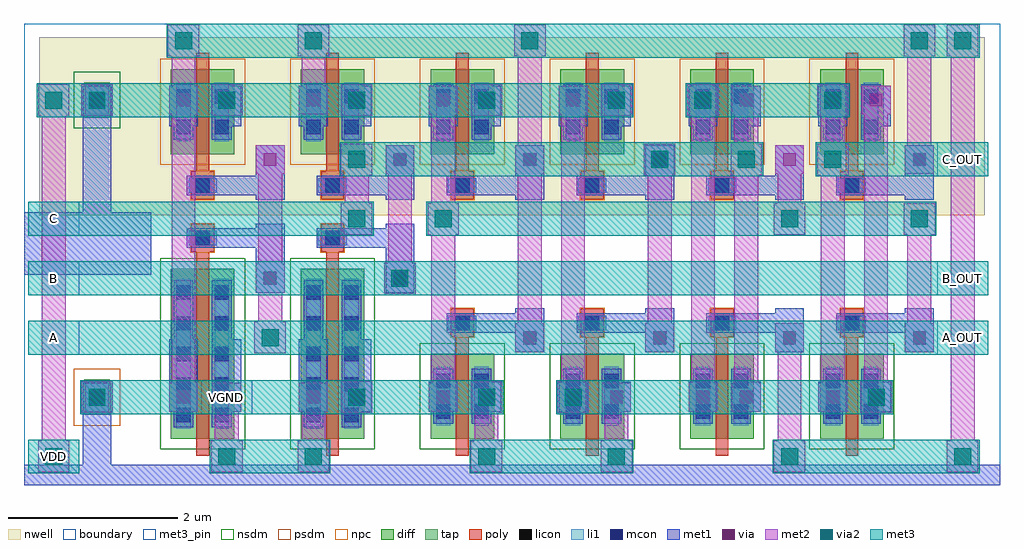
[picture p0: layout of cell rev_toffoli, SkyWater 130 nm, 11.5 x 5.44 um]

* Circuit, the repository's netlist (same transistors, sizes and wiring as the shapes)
* NGSPICE file created from rev_toffoli.ext - technology: sky130A

.subckt rev_toffoli VDD VGND A B C A_OUT B_OUT C_OUT
X0 VDD B a_346_110# VDD sky130_fd_pr__pfet_01v8 ad=0.3 pd=2.6 as=0.3 ps=2.6 w=1 l=0.15
X1 a_436_110# A a_346_110# VGND sky130_fd_pr__nfet_01v8 ad=0.6 pd=4.6 as=0.6 ps=4.6 w=2 l=0.15
V0 B B_OUT 0
V1 A A_OUT 0
X2 VGND B a_436_110# VGND sky130_fd_pr__nfet_01v8 ad=0.6 pd=4.6 as=0.6 ps=4.6 w=2 l=0.15
X3 VDD a_346_110# a_958_110# VDD sky130_fd_pr__pfet_01v8 ad=0.3 pd=2.6 as=0.3 ps=2.6 w=1 l=0.15
X4 VDD C a_1264_110# VDD sky130_fd_pr__pfet_01v8 ad=0.3 pd=2.6 as=0.3 ps=2.6 w=1 l=0.15
X5 VGND a_346_110# a_958_110# VGND sky130_fd_pr__nfet_01v8 ad=0.3 pd=2.6 as=0.3 ps=2.6 w=1 l=0.15
X6 C a_958_110# C_OUT VDD sky130_fd_pr__pfet_01v8 ad=0.3 pd=2.6 as=0.3 ps=2.6 w=1 l=0.15
X7 VGND C a_1264_110# VGND sky130_fd_pr__nfet_01v8 ad=0.3 pd=2.6 as=0.3 ps=2.6 w=1 l=0.15
X8 a_1264_110# a_346_110# C_OUT VDD sky130_fd_pr__pfet_01v8 ad=0.3 pd=2.6 as=0.3 ps=2.6 w=1 l=0.15
X9 C a_346_110# C_OUT VGND sky130_fd_pr__nfet_01v8 ad=0.3 pd=2.6 as=0.3 ps=2.6 w=1 l=0.15
X10 VDD A a_346_110# VDD sky130_fd_pr__pfet_01v8 ad=0.3 pd=2.6 as=0.3 ps=2.6 w=1 l=0.15
X11 a_1264_110# a_958_110# C_OUT VGND sky130_fd_pr__nfet_01v8 ad=0.3 pd=2.6 as=0.3 ps=2.6 w=1 l=0.15
.ends

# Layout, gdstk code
import gdstk
lib = gdstk.Library(unit=1e-6, precision=1e-09)
def R(c, l, rs):  # rectangles x0, y0, x1, y1
    for r in rs: c.add(gdstk.rectangle(r[:2], r[2:], *l))
def A(c, l, x, y, w, h, nx, ny, dx, dy):  # array of equal rectangles
    R(c, l, [(x+i*dx, y+j*dy, x+i*dx+w, y+j*dy+h) for i in range(nx) for j in range(ny)])
nwell = (64, 20)
diff = (65, 20)
tap = (65, 44)
poly = (66, 20)
licon = (66, 44)
li1 = (67, 20)
mcon = (67, 44)
met1 = (68, 20)
via = (68, 44)
met2 = (69, 20)
via2 = (69, 44)
met3_pin = (70, 16)
met3 = (70, 20)
nsdm = (93, 44)
psdm = (94, 20)
npc = (95, 20)
boundary = (235, 4)

rev_toffoli = lib.new_cell('rev_toffoli')
A(rev_toffoli, nwell, 1.425, 3.18, 1.36, 2.1, 6, 1, 1.53, 0)
R(rev_toffoli, nwell, [(0.18,3.18,11.32,5.28)])
A(rev_toffoli, diff, 4.79, 0.55, 0.75, 1, 4, 1, 1.53, 0)
A(rev_toffoli, diff, 1.73, 3.9, 0.75, 1, 6, 1, 1.53, 0)
R(rev_toffoli, diff, [(1.73,0.55,2.48,2.55), (3.26,0.55,4.01,2.55)])
R(rev_toffoli, tap, [(0.71,0.83,1.01,1.25), (0.71,4.33,1.01,4.75)])
A(rev_toffoli, poly, 5.09, 0.35, 0.15, 1.4, 4, 1, 1.53, 0)
A(rev_toffoli, poly, 5.03, 1.75, 0.27, 0.33, 4, 1, 1.53, 0)
A(rev_toffoli, poly, 1.97, 3.37, 0.27, 0.33, 6, 1, 1.53, 0)
A(rev_toffoli, poly, 2.03, 3.7, 0.15, 1.4, 6, 1, 1.53, 0)
R(rev_toffoli, poly, [(2.03,0.35,2.18,2.75), (3.56,0.35,3.71,2.75), (1.97,2.75,2.24,3.08), (3.5,2.75,3.77,3.08)])
A(rev_toffoli, licon, 1.795, 0.745, 0.17, 0.17, 1, 5, 0, 0.36)
A(rev_toffoli, licon, 2.245, 0.745, 0.17, 0.17, 1, 5, 0, 0.36)
A(rev_toffoli, licon, 3.325, 0.745, 0.17, 0.17, 1, 5, 0, 0.36)
A(rev_toffoli, licon, 3.775, 0.745, 0.17, 0.17, 1, 5, 0, 0.36)
A(rev_toffoli, licon, 5.08, 1.83, 0.17, 0.17, 4, 1, 1.53, 0)
A(rev_toffoli, licon, 2.02, 3.45, 0.17, 0.17, 6, 1, 1.53, 0)
R(rev_toffoli, licon, [(4.855,0.785,5.025,0.955), (5.305,0.785,5.475,0.955), (6.385,0.785,6.555,0.955), (6.835,0.785,7.005,0.955), (7.915,0.785,8.085,0.955), (8.365,0.785,8.535,0.955), (9.445,0.785,9.615,0.955), (9.895,0.785,10.065,0.955), (0.775,0.955,0.945,1.125), (4.855,1.145,5.025,1.315), (5.305,1.145,5.475,1.315), (6.385,1.145,6.555,1.315), (6.835,1.145,7.005,1.315), (7.915,1.145,8.085,1.315), (8.365,1.145,8.535,1.315), (9.445,1.145,9.615,1.315), (9.895,1.145,10.065,1.315), (2.02,2.83,2.19,3), (3.55,2.83,3.72,3), (1.795,4.135,1.965,4.305), (2.245,4.135,2.415,4.305), (3.325,4.135,3.495,4.305), (3.775,4.135,3.945,4.305), (4.855,4.135,5.025,4.305), (5.305,4.135,5.475,4.305), (6.385,4.135,6.555,4.305), (6.835,4.135,7.005,4.305), (7.915,4.135,8.085,4.305), (8.365,4.135,8.535,4.305), (9.445,4.135,9.615,4.305), (9.895,4.135,10.065,4.305), (0.775,4.455,0.945,4.625), (1.795,4.495,1.965,4.665), (2.245,4.495,2.415,4.665), (3.325,4.495,3.495,4.665), (3.775,4.495,3.945,4.665), (4.855,4.495,5.025,4.665), (5.305,4.495,5.475,4.665), (6.385,4.495,6.555,4.665), (6.835,4.495,7.005,4.665), (7.915,4.495,8.085,4.665), (8.365,4.495,8.535,4.665), (9.445,4.495,9.615,4.665), (9.895,4.495,10.065,4.665)])
A(rev_toffoli, li1, 5, 1.83, 0.33, 0.17, 4, 1, 1.53, 0)
A(rev_toffoli, li1, 1.94, 3.45, 0.33, 0.17, 6, 1, 1.53, 0)
R(rev_toffoli, li1, [(1.795,0.665,1.965,2.435), (2.245,0.665,2.415,2.435), (3.325,0.665,3.495,2.435), (3.775,0.665,3.945,2.435), (4.855,0.705,5.025,1.395), (5.305,0.705,5.475,1.395), (6.385,0.705,6.555,1.395), (6.835,0.705,7.005,1.395), (7.915,0.705,8.085,1.395), (8.365,0.705,8.535,1.395), (9.445,0.705,9.615,1.395), (9.895,0.705,10.065,1.395), (0.72,0.87,1,1.21), (1.94,2.83,2.27,3), (3.47,2.83,3.8,3), (1.795,4.055,1.965,4.745), (2.245,4.055,2.415,4.745), (3.325,4.055,3.495,4.745), (3.775,4.055,3.945,4.745), (4.855,4.055,5.025,4.745), (5.305,4.055,5.475,4.745), (6.385,4.055,6.555,4.745), (6.835,4.055,7.005,4.745), (7.915,4.055,8.085,4.745), (8.365,4.055,8.535,4.745), (9.445,4.055,9.615,4.745), (9.895,4.055,10.065,4.745), (0.72,4.37,1,4.71)])
A(rev_toffoli, mcon, 1.795, 0.745, 0.17, 0.17, 1, 5, 0, 0.36)
A(rev_toffoli, mcon, 2.245, 0.745, 0.17, 0.17, 1, 5, 0, 0.36)
A(rev_toffoli, mcon, 3.325, 0.745, 0.17, 0.17, 1, 5, 0, 0.36)
A(rev_toffoli, mcon, 3.775, 0.745, 0.17, 0.17, 1, 5, 0, 0.36)
A(rev_toffoli, mcon, 5.08, 1.83, 0.17, 0.17, 4, 1, 1.53, 0)
A(rev_toffoli, mcon, 2.02, 3.45, 0.17, 0.17, 6, 1, 1.53, 0)
R(rev_toffoli, mcon, [(4.855,0.785,5.025,0.955), (5.305,0.785,5.475,0.955), (6.385,0.785,6.555,0.955), (6.835,0.785,7.005,0.955), (7.915,0.785,8.085,0.955), (8.365,0.785,8.535,0.955), (9.445,0.785,9.615,0.955), (9.895,0.785,10.065,0.955), (0.775,0.955,0.945,1.125), (4.855,1.145,5.025,1.315), (5.305,1.145,5.475,1.315), (6.385,1.145,6.555,1.315), (6.835,1.145,7.005,1.315), (7.915,1.145,8.085,1.315), (8.365,1.145,8.535,1.315), (9.445,1.145,9.615,1.315), (9.895,1.145,10.065,1.315), (2.02,2.83,2.19,3), (3.55,2.83,3.72,3), (1.795,4.135,1.965,4.305), (2.245,4.135,2.415,4.305), (3.325,4.135,3.495,4.305), (3.775,4.135,3.945,4.305), (4.855,4.135,5.025,4.305), (5.305,4.135,5.475,4.305), (6.385,4.135,6.555,4.305), (6.835,4.135,7.005,4.305), (7.915,4.135,8.085,4.305), (8.365,4.135,8.535,4.305), (9.445,4.135,9.615,4.305), (9.895,4.135,10.065,4.305), (0.775,4.455,0.945,4.625), (1.795,4.495,1.965,4.665), (2.245,4.495,2.415,4.665), (3.325,4.495,3.495,4.665), (3.775,4.495,3.945,4.665), (4.855,4.495,5.025,4.665), (5.305,4.495,5.475,4.665), (6.385,4.495,6.555,4.665), (6.835,4.495,7.005,4.665), (7.915,4.495,8.085,4.665), (8.365,4.495,8.535,4.665), (9.445,4.495,9.615,4.665), (9.895,4.495,10.065,4.665)])
A(rev_toffoli, met1, 4.825, 0.935, 0.23, 0.23, 4, 1, 1.53, 0)
A(rev_toffoli, met1, 5.275, 0.935, 0.29, 0.23, 4, 1, 1.53, 0)
A(rev_toffoli, met1, 5.79, 1.57, 0.34, 0.34, 4, 1, 1.53, 0)
A(rev_toffoli, met1, 5.79, 1.57, 0.34, 0.515, 4, 1, 1.53, 0)
A(rev_toffoli, met1, 4.98, 1.8, 0.37, 0.23, 4, 1, 1.53, 0)
A(rev_toffoli, met1, 5.05, 1.8, 1.025, 0.23, 4, 1, 1.53, 0)
A(rev_toffoli, met1, 2.73, 3.365, 0.34, 0.645, 6, 1, 1.53, 0)
A(rev_toffoli, met1, 1.92, 3.42, 0.37, 0.23, 6, 1, 1.53, 0)
A(rev_toffoli, met1, 1.99, 3.42, 1.025, 0.23, 6, 1, 1.53, 0)
A(rev_toffoli, met1, 2.73, 3.67, 0.34, 0.34, 6, 1, 1.53, 0)
A(rev_toffoli, met1, 1.765, 4.285, 0.23, 0.23, 6, 1, 1.53, 0)
A(rev_toffoli, met1, 2.215, 4.285, 0.29, 0.23, 6, 1, 1.53, 0)
R(rev_toffoli, met1, [(0,0,11.5,0.24), (0.69,0,1.03,1.21), (1.765,0.685,1.995,2.415), (2.215,0.685,2.445,2.415), (3.295,0.685,3.525,2.415), (3.745,0.685,3.975,2.415), (4.825,0.725,5.055,1.375), (5.275,0.725,5.505,1.375), (6.355,0.725,6.585,1.375), (6.805,0.725,7.035,1.375), (7.885,0.725,8.115,1.375), (8.335,0.725,8.565,1.375), (9.415,0.725,9.645,1.375), (9.865,0.725,10.095,1.375), (0.69,0.87,1.03,1.21), (1.71,0.87,2.05,1.21), (1.71,0.87,2.05,1.72), (2.22,0.87,2.56,1.21), (2.22,0.87,2.56,1.72), (3.24,0.87,3.58,1.21), (3.24,0.87,3.58,1.72), (3.75,0.87,4.09,1.21), (3.75,0.87,4.09,1.72), (4.77,0.87,5.11,1.21), (4.77,0.87,5.11,1.22), (5.28,0.87,5.62,1.21), (5.28,0.87,5.62,1.22), (6.3,0.87,6.64,1.21), (6.3,0.87,6.64,1.22), (6.81,0.87,7.15,1.21), (6.81,0.87,7.15,1.22), (7.83,0.87,8.17,1.21), (7.83,0.87,8.17,1.22), (8.34,0.87,8.68,1.21), (8.34,0.87,8.68,1.22), (9.36,0.87,9.7,1.21), (9.36,0.87,9.7,1.22), (9.87,0.87,10.21,1.21), (9.87,0.87,10.21,1.22), (1.765,1.435,1.995,1.665), (2.215,1.435,2.505,1.665), (3.295,1.435,3.525,1.665), (3.745,1.435,4.035,1.665), (2.73,2.27,3.07,3.085), (2.73,2.27,3.07,2.61), (4.26,2.27,4.6,3.085), (4.26,2.27,4.6,2.61), (0,2.48,1.5,3.22), (1.92,2.8,2.29,3.03), (1.99,2.8,3.015,3.03), (3.45,2.8,3.82,3.03), (3.52,2.8,4.545,3.03), (0.69,3.22,1.03,4.71), (1.765,4.075,1.995,4.725), (2.215,4.075,2.445,4.725), (3.295,4.075,3.525,4.725), (3.745,4.075,3.975,4.725), (4.825,4.075,5.055,4.725), (5.275,4.075,5.505,4.725), (6.355,4.075,6.585,4.725), (6.805,4.075,7.035,4.725), (7.885,4.075,8.115,4.725), (8.335,4.075,8.565,4.725), (9.415,4.075,9.645,4.725), (9.865,4.075,10.095,4.725), (1.71,4.23,2.05,4.71), (2.22,4.23,2.56,4.71), (3.24,4.23,3.58,4.71), (3.75,4.23,4.09,4.71), (4.77,4.23,5.11,4.71), (5.28,4.23,5.62,4.71), (6.3,4.23,6.64,4.71), (6.81,4.23,7.15,4.71), (7.83,4.23,8.17,4.71), (8.34,4.23,8.68,4.71), (9.36,4.23,9.7,4.71), (9.87,4.23,10.21,4.71), (0.69,4.37,1.03,4.71), (1.71,4.37,2.05,4.71), (2.22,4.37,2.56,4.71), (3.24,4.37,3.58,4.71), (3.75,4.37,4.09,4.71), (4.77,4.37,5.11,4.71), (5.28,4.37,5.62,4.71), (6.3,4.37,6.64,4.71), (6.81,4.37,7.15,4.71), (7.83,4.37,8.17,4.71), (8.34,4.37,8.68,4.71), (9.36,4.37,9.7,4.71), (9.87,4.37,10.21,4.71)])
A(rev_toffoli, via, 5.885, 1.665, 0.15, 0.15, 4, 1, 1.53, 0)
A(rev_toffoli, via, 2.825, 3.765, 0.15, 0.15, 6, 1, 1.53, 0)
R(rev_toffoli, via, [(0.785,0.965,0.935,1.115), (1.805,0.965,1.955,1.115), (2.315,0.965,2.465,1.115), (3.335,0.965,3.485,1.115), (3.845,0.965,3.995,1.115), (4.865,0.965,5.015,1.115), (5.375,0.965,5.525,1.115), (6.395,0.965,6.545,1.115), (6.905,0.965,7.055,1.115), (7.925,0.965,8.075,1.115), (8.435,0.965,8.585,1.115), (9.455,0.965,9.605,1.115), (9.965,0.965,10.115,1.115), (2.825,2.365,2.975,2.515), (4.355,2.365,4.505,2.515), (0.785,4.465,0.935,4.615), (1.805,4.465,1.955,4.615), (2.315,4.465,2.465,4.615), (3.335,4.465,3.485,4.615), (3.845,4.465,3.995,4.615), (4.865,4.465,5.015,4.615), (5.375,4.465,5.525,4.615), (6.395,4.465,6.545,4.615), (6.905,4.465,7.055,4.615), (7.925,4.465,8.075,4.615), (8.435,4.465,8.585,4.615), (9.455,4.465,9.605,4.615), (9.965,4.465,10.115,4.615)])
A(rev_toffoli, met2, 6.795, 0.155, 0.37, 0.37, 3, 1, 2.04, 0)
A(rev_toffoli, met2, 0.21, 0.2, 0.28, 0.98, 1, 6, 0, 0.7)
A(rev_toffoli, met2, 6.84, 0.2, 0.28, 0.98, 3, 1, 2.04, 0)
A(rev_toffoli, met2, 1.74, 0.9, 0.28, 0.98, 1, 3, 0, 0.7)
A(rev_toffoli, met2, 4.8, 0.9, 0.28, 0.98, 3, 1, 1.53, 0)
A(rev_toffoli, met2, 8.37, 0.9, 0.28, 0.98, 4, 1, 0.51, 0)
A(rev_toffoli, met2, 5.79, 1.57, 0.34, 0.34, 4, 1, 1.53, 0)
A(rev_toffoli, met2, 4.8, 1.6, 0.28, 0.98, 1, 4, 0, 0.7)
A(rev_toffoli, met2, 5.82, 1.6, 0.28, 0.98, 1, 5, 0, 0.7)
A(rev_toffoli, met2, 6.33, 1.6, 0.28, 0.98, 1, 4, 0, 0.7)
A(rev_toffoli, met2, 7.35, 1.6, 0.28, 0.98, 3, 2, 0.51, 0.7)
A(rev_toffoli, met2, 9.39, 1.6, 0.28, 0.98, 4, 2, 0.51, 0.7)
A(rev_toffoli, met2, 1.74, 3, 0.28, 0.98, 3, 1, 1.02, 0)
A(rev_toffoli, met2, 7.35, 3, 0.28, 0.98, 6, 1, 0.51, 0)
A(rev_toffoli, met2, 7.305, 3.655, 0.37, 0.37, 3, 1, 1.02, 0)
A(rev_toffoli, met2, 2.73, 3.67, 0.34, 0.34, 6, 1, 1.53, 0)
A(rev_toffoli, met2, 9.39, 3.7, 0.28, 0.98, 4, 1, 0.51, 0)
A(rev_toffoli, met2, 0.675, 4.355, 0.37, 0.37, 5, 1, 1.53, 0)
R(rev_toffoli, met2, [(0.165,0.155,0.535,0.525), (2.205,0.155,2.575,0.525), (3.225,0.155,3.595,0.525), (5.265,0.155,5.635,0.525), (2.25,0.2,2.53,1.18), (3.27,0.2,3.55,1.18), (5.31,0.2,5.59,1.18), (0.675,0.855,1.045,1.225), (3.735,0.855,4.105,1.225), (5.265,0.855,5.635,1.225), (6.285,0.855,6.655,1.225), (9.855,0.855,10.225,1.225), (0.69,0.87,1.03,1.21), (1.71,0.87,2.05,1.21), (2.22,0.87,2.56,1.21), (3.24,0.87,3.58,1.21), (3.75,0.87,4.09,1.21), (4.77,0.87,5.11,1.21), (5.28,0.87,5.62,1.21), (6.3,0.87,6.64,1.21), (6.81,0.87,7.15,1.21), (7.83,0.87,8.17,1.21), (8.34,0.87,8.68,1.21), (9.36,0.87,9.7,1.21), (9.87,0.87,10.21,1.21), (10.92,0.9,11.2,1.88), (2.715,1.555,3.085,1.925), (2.76,1.6,3.04,2.58), (4.245,2.255,4.615,2.625), (2.73,2.27,3.07,2.61), (4.26,2.27,4.6,2.61), (2.76,2.3,3.04,3.28), (4.29,2.3,4.57,3.28), (3.735,2.955,4.105,3.325), (4.755,2.955,5.125,3.325), (8.835,2.955,9.205,3.325), (10.365,2.955,10.735,3.325), (4.29,3,4.57,3.98), (10.92,3,11.2,3.98), (3.735,3.655,4.105,4.025), (1.74,3.7,2.02,4.68), (7.86,3.7,8.14,4.68), (8.37,3.7,8.65,4.68), (0.165,4.355,0.535,4.725), (7.815,4.355,8.185,4.725), (9.345,4.355,9.715,4.725), (0.69,4.37,1.03,4.71), (1.71,4.37,2.05,4.71), (2.22,4.37,2.56,4.71), (3.24,4.37,3.58,4.71), (3.75,4.37,4.09,4.71), (4.77,4.37,5.11,4.71), (5.28,4.37,5.62,4.71), (6.3,4.37,6.64,4.71), (6.81,4.37,7.15,4.71), (7.83,4.37,8.17,4.71), (8.34,4.37,8.68,4.71), (9.36,4.37,9.7,4.71), (9.87,4.37,10.21,4.71), (1.74,4.4,2.02,5.38), (3.27,4.4,3.55,5.38), (10.41,4.4,10.69,5.38), (10.92,4.4,11.2,5.38), (1.695,5.055,2.065,5.425), (3.225,5.055,3.595,5.425), (5.775,5.055,6.145,5.425), (10.365,5.055,10.735,5.425), (10.875,5.055,11.245,5.425)])
A(rev_toffoli, via2, 6.88, 0.24, 0.2, 0.2, 3, 1, 2.04, 0)
A(rev_toffoli, via2, 7.39, 3.74, 0.2, 0.2, 3, 1, 1.02, 0)
A(rev_toffoli, via2, 0.76, 4.44, 0.2, 0.2, 5, 1, 1.53, 0)
R(rev_toffoli, via2, [(0.25,0.24,0.45,0.44), (2.29,0.24,2.49,0.44), (3.31,0.24,3.51,0.44), (5.35,0.24,5.55,0.44), (0.76,0.94,0.96,1.14), (3.82,0.94,4.02,1.14), (5.35,0.94,5.55,1.14), (6.37,0.94,6.57,1.14), (9.94,0.94,10.14,1.14), (2.8,1.64,3,1.84), (4.33,2.34,4.53,2.54), (3.82,3.04,4.02,3.24), (4.84,3.04,5.04,3.24), (8.92,3.04,9.12,3.24), (10.45,3.04,10.65,3.24), (3.82,3.74,4.02,3.94), (0.25,4.44,0.45,4.64), (7.9,4.44,8.1,4.64), (9.43,4.44,9.63,4.64), (1.78,5.14,1.98,5.34), (3.31,5.14,3.51,5.34), (5.86,5.14,6.06,5.34), (10.45,5.14,10.65,5.34), (10.96,5.14,11.16,5.34)])
A(rev_toffoli, met3_pin, 0.05, 1.54, 0.6, 0.4, 1, 3, 0, 0.7)
R(rev_toffoli, met3_pin, [(0.05,0.14,0.65,0.54), (2.09,0.84,2.69,1.24), (10.76,1.54,11.36,1.94), (10.76,2.24,11.36,2.64), (10.76,3.64,11.36,4.04)])
A(rev_toffoli, met3, 5.25, 0.14, 0.91, 0.4, 3, 1, 0.51, 0)
A(rev_toffoli, met3, 6.78, 0.14, 0.4, 0.4, 3, 1, 2.04, 0)
A(rev_toffoli, met3, 8.82, 0.14, 0.91, 0.4, 4, 1, 0.51, 0)
A(rev_toffoli, met3, 0.66, 0.84, 0.91, 0.4, 9, 1, 0.51, 0)
A(rev_toffoli, met3, 6.27, 0.84, 0.91, 0.4, 7, 1, 0.51, 0)
A(rev_toffoli, met3, 0.05, 1.54, 0.6, 0.4, 1, 3, 0, 0.7)
A(rev_toffoli, met3, 0.15, 1.54, 0.91, 0.4, 21, 2, 0.51, 0.7)
A(rev_toffoli, met3, 0.15, 2.94, 0.91, 0.4, 7, 1, 0.51, 0)
A(rev_toffoli, met3, 4.74, 2.94, 0.91, 0.4, 11, 1, 0.51, 0)
A(rev_toffoli, met3, 3.72, 3.64, 0.91, 0.4, 9, 1, 0.51, 0)
A(rev_toffoli, met3, 7.29, 3.64, 0.4, 0.4, 3, 1, 1.02, 0)
A(rev_toffoli, met3, 9.33, 3.64, 0.91, 0.4, 3, 1, 0.51, 0)
A(rev_toffoli, met3, 0.15, 4.34, 0.91, 0.4, 13, 1, 0.51, 0)
A(rev_toffoli, met3, 0.66, 4.34, 0.4, 0.4, 5, 1, 1.53, 0)
A(rev_toffoli, met3, 7.8, 4.34, 0.91, 0.4, 3, 1, 0.51, 0)
A(rev_toffoli, met3, 1.68, 5.04, 0.91, 0.4, 18, 1, 0.51, 0)
R(rev_toffoli, met3, [(0.05,0.14,0.65,0.54), (0.15,0.14,0.55,0.54), (2.19,0.14,3.1,0.54), (2.19,0.14,2.59,0.54), (2.7,0.14,3.61,0.54), (3.21,0.14,3.61,0.54), (5.25,0.14,5.65,0.54), (0.66,0.84,1.06,1.24), (2.09,0.84,2.69,1.24), (3.72,0.84,4.12,1.24), (5.25,0.84,5.65,1.24), (6.27,0.84,6.67,1.24), (9.84,0.84,10.24,1.24), (2.7,1.54,3.1,1.94), (10.76,1.54,11.36,1.94), (4.23,2.24,4.63,2.64), (10.76,2.24,11.36,2.64), (3.72,2.94,4.12,3.34), (4.74,2.94,5.14,3.34), (8.82,2.94,9.22,3.34), (10.35,2.94,10.75,3.34), (3.72,3.64,4.12,4.04), (10.76,3.64,11.36,4.04), (0.15,4.34,0.55,4.74), (7.8,4.34,8.2,4.74), (9.33,4.34,9.73,4.74), (1.68,5.04,2.08,5.44), (3.21,5.04,3.61,5.44), (5.76,5.04,6.16,5.44), (10.35,5.04,10.75,5.44), (10.86,5.04,11.26,5.44)])
A(rev_toffoli, nsdm, 4.665, 0.425, 1, 1.25, 4, 1, 1.53, 0)
R(rev_toffoli, nsdm, [(1.605,0.425,2.605,2.675), (3.135,0.425,4.135,2.675), (0.585,4.205,1.135,4.875)])
A(rev_toffoli, psdm, 1.605, 3.775, 1, 1.25, 6, 1, 1.53, 0)
R(rev_toffoli, psdm, [(0.585,0.705,1.135,1.375)])
A(rev_toffoli, npc, 5.02, 1.74, 0.29, 0.35, 4, 1, 1.53, 0)
A(rev_toffoli, npc, 1.96, 3.36, 0.29, 0.35, 6, 1, 1.53, 0)
R(rev_toffoli, npc, [(1.96,2.74,2.25,3.09), (3.49,2.74,3.78,3.09)])
R(rev_toffoli, boundary, [(0,0,11.5,5.44)])
rev_toffoli.add(gdstk.Label('VDD', (0.35,0.34), layer=70, texttype=5))
rev_toffoli.add(gdstk.Label('VGND', (2.39,1.04), layer=70, texttype=5))
rev_toffoli.add(gdstk.Label('A', (0.35,1.74), layer=70, texttype=5))
rev_toffoli.add(gdstk.Label('B', (0.35,2.44), layer=70, texttype=5))
rev_toffoli.add(gdstk.Label('C', (0.35,3.14), layer=70, texttype=5))
rev_toffoli.add(gdstk.Label('A_OUT', (11.06,1.74), layer=70, texttype=5))
rev_toffoli.add(gdstk.Label('B_OUT', (11.06,2.44), layer=70, texttype=5))
rev_toffoli.add(gdstk.Label('C_OUT', (11.06,3.84), layer=70, texttype=5))

lib.write_gds('rev_toffoli.gds')
